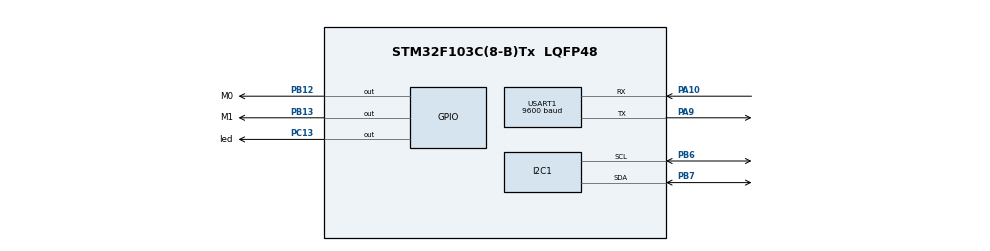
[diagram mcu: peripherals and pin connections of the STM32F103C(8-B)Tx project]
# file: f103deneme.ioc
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Mcu.Family=STM32F1
Mcu.Name=STM32F103C(8-B)Tx
Mcu.Package=LQFP48
NVIC.PriorityGroup=NVIC_PRIORITYGROUP_4
NVIC.USART1_IRQn=true\:0\:0\:false\:false\:true\:true\:true\:true
PA10.Mode=Asynchronous
PA10.Signal=USART1_RX
PA13.Mode=Serial_Wire
PA13.Signal=SYS_JTMS-SWDIO
PA14.Mode=Serial_Wire
PA14.Signal=SYS_JTCK-SWCLK
PA9.Mode=Asynchronous
PA9.Signal=USART1_TX
PB12.GPIO_Label=M0
PB12.Signal=GPIO_Output
PB13.GPIO_Label=M1
PB13.Signal=GPIO_Output
PB6.Mode=I2C
PB6.Signal=I2C1_SCL
PB7.Mode=I2C
PB7.Signal=I2C1_SDA
PC13-TAMPER-RTC.GPIO_Label=led
PC13-TAMPER-RTC.Signal=GPIO_Output
PD0-OSC_IN.Mode=HSE-External-Oscillator
PD0-OSC_IN.Signal=RCC_OSC_IN
PD1-OSC_OUT.Mode=HSE-External-Oscillator
PD1-OSC_OUT.Signal=RCC_OSC_OUT
ProjectManager.HeapSize=0x200
ProjectManager.StackSize=0x400
ProjectManager.TargetToolchain=STM32CubeIDE
RCC.APB1Freq_Value=8000000
RCC.APB2Freq_Value=8000000
USART1.BaudRate=9600
USART1.VirtualMode=VM_ASYNC
board=custom

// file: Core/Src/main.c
/* USER CODE BEGIN Header */
/**
  ******************************************************************************
  * @file           : main.c
  * @brief          : Main program body
  ******************************************************************************
  * @attention
  *
  * Copyright (c) 2025 STMicroelectronics.
  * All rights reserved.
  *
  * This software is licensed under terms that can be found in the LICENSE file
  * in the root directory of this software component.
  * If no LICENSE file comes with this software, it is provided AS-IS.
  *
  ******************************************************************************
  */
/* USER CODE END Header */
#include "main.h"

/* USER CODE BEGIN Includes */
#include "stdio.h"     // sprintf fomksiyou için

/* USER CODE END Includes */

I2C_HandleTypeDef hi2c1;

UART_HandleTypeDef huart1;

/* USER CODE BEGIN PV */

typedef struct{
	  float cur;
	  float temp;
	  float nem;
	  float volt;
  }DataPacket;

 uint8_t data[3] = {0x03,0x00,0x04};
 HAL_StatusTypeDef status;
 uint8_t buff[8];
 DataPacket packet;
 uint8_t startByte = 0xAA; // Başlangıç bayrağı
 uint8_t endByte = 0xBB;   // Bitiş bayrağı

/* USER CODE END PV */

void SystemClock_Config(void);
static void MX_GPIO_Init(void);
static void MX_USART1_UART_Init(void);
static void MX_I2C1_Init(void);
/* USER CODE BEGIN PFP */
void TransmitAddressAndChannel(uint8_t receiverAddressLow, uint8_t receiverAddressHigh, uint8_t channelInfo);
unsigned short crc16(unsigned char *ptr, unsigned char len);
void GetData_AM2315(void);

/* USER CODE END PFP */

int main(void)
{

  /* MCU Configuration--------------------------------------------------------*/

  /* Reset of all peripherals, Initializes the Flash interface and the Systick. */
  HAL_Init();

  /* Configure the system clock */
  SystemClock_Config();

  /* Initialize all configured peripherals */
  MX_GPIO_Init();
  MX_USART1_UART_Init();
  MX_I2C1_Init();
  /* USER CODE BEGIN 2 */
  HAL_GPIO_WritePin(M0_GPIO_Port, M0_Pin, GPIO_PIN_RESET);
  HAL_GPIO_WritePin(M1_GPIO_Port, M1_Pin, GPIO_PIN_RESET);

  packet.cur=5.20;
  packet.volt=12.35;

  /* USER CODE END 2 */

  /* Infinite loop */
  while (1)
  {

    /* USER CODE BEGIN 3 */
  	  HAL_I2C_IsDeviceReady(&hi2c1, 0xb8, 2, 1);
	  GetData_AM2315();
	  TransmitAddressAndChannel(0x00, 0xc, 0x17);
	  HAL_UART_Transmit(&huart1, &startByte, 1, HAL_MAX_DELAY); // Başlangıç bayrağı
	  HAL_UART_Transmit(&huart1, (uint8_t*)&packet, sizeof(packet), HAL_MAX_DELAY);
	  HAL_UART_Transmit(&huart1, &endByte, 1, HAL_MAX_DELAY);   // Bitiş bayrağı

	  HAL_GPIO_TogglePin(led_GPIO_Port, led_Pin);
	  HAL_Delay(2000);
  }
  /* USER CODE END 3 */
}

void SystemClock_Config(void)
{
  RCC_OscInitTypeDef RCC_OscInitStruct = {0};
  RCC_ClkInitTypeDef RCC_ClkInitStruct = {0};

  /** Initializes the RCC Oscillators according to the specified parameters
  * in the RCC_OscInitTypeDef structure.
  */
  RCC_OscInitStruct.OscillatorType = RCC_OSCILLATORTYPE_HSI;
  RCC_OscInitStruct.HSIState = RCC_HSI_ON;
  RCC_OscInitStruct.HSICalibrationValue = RCC_HSICALIBRATION_DEFAULT;
  RCC_OscInitStruct.PLL.PLLState = RCC_PLL_NONE;
  if (HAL_RCC_OscConfig(&RCC_OscInitStruct) != HAL_OK)
  {
    Error_Handler();
  }

  /** Initializes the CPU, AHB and APB buses clocks
  */
  RCC_ClkInitStruct.ClockType = RCC_CLOCKTYPE_HCLK|RCC_CLOCKTYPE_SYSCLK
                              |RCC_CLOCKTYPE_PCLK1|RCC_CLOCKTYPE_PCLK2;
  RCC_ClkInitStruct.SYSCLKSource = RCC_SYSCLKSOURCE_HSI;
  RCC_ClkInitStruct.AHBCLKDivider = RCC_SYSCLK_DIV1;
  RCC_ClkInitStruct.APB1CLKDivider = RCC_HCLK_DIV1;
  RCC_ClkInitStruct.APB2CLKDivider = RCC_HCLK_DIV1;

  if (HAL_RCC_ClockConfig(&RCC_ClkInitStruct, FLASH_LATENCY_0) != HAL_OK)
  {
    Error_Handler();
  }
}

static void MX_I2C1_Init(void)
{

  hi2c1.Instance = I2C1;
  hi2c1.Init.ClockSpeed = 100000;
  hi2c1.Init.DutyCycle = I2C_DUTYCYCLE_2;
  hi2c1.Init.OwnAddress1 = 0;
  hi2c1.Init.AddressingMode = I2C_ADDRESSINGMODE_7BIT;
  hi2c1.Init.DualAddressMode = I2C_DUALADDRESS_DISABLE;
  hi2c1.Init.OwnAddress2 = 0;
  hi2c1.Init.GeneralCallMode = I2C_GENERALCALL_DISABLE;
  hi2c1.Init.NoStretchMode = I2C_NOSTRETCH_DISABLE;
  if (HAL_I2C_Init(&hi2c1) != HAL_OK)
  {
    Error_Handler();
  }

}

static void MX_USART1_UART_Init(void)
{

  huart1.Instance = USART1;
  huart1.Init.BaudRate = 9600;
  huart1.Init.WordLength = UART_WORDLENGTH_8B;
  huart1.Init.StopBits = UART_STOPBITS_1;
  huart1.Init.Parity = UART_PARITY_NONE;
  huart1.Init.Mode = UART_MODE_TX_RX;
  huart1.Init.HwFlowCtl = UART_HWCONTROL_NONE;
  huart1.Init.OverSampling = UART_OVERSAMPLING_16;
  if (HAL_UART_Init(&huart1) != HAL_OK)
  {
    Error_Handler();
  }

}

static void MX_GPIO_Init(void)
{
  GPIO_InitTypeDef GPIO_InitStruct = {0};

  /* GPIO Ports Clock Enable */
  __HAL_RCC_GPIOC_CLK_ENABLE();
  __HAL_RCC_GPIOD_CLK_ENABLE();
  __HAL_RCC_GPIOB_CLK_ENABLE();
  __HAL_RCC_GPIOA_CLK_ENABLE();

  /*Configure GPIO pin Output Level */
  HAL_GPIO_WritePin(led_GPIO_Port, led_Pin, GPIO_PIN_RESET);

  /*Configure GPIO pin Output Level */
  HAL_GPIO_WritePin(GPIOB, M0_Pin|M1_Pin, GPIO_PIN_RESET);

  /*Configure GPIO pin : led_Pin */
  GPIO_InitStruct.Pin = led_Pin;
  GPIO_InitStruct.Mode = GPIO_MODE_OUTPUT_PP;
  GPIO_InitStruct.Pull = GPIO_NOPULL;
  GPIO_InitStruct.Speed = GPIO_SPEED_FREQ_LOW;
  HAL_GPIO_Init(led_GPIO_Port, &GPIO_InitStruct);

  /*Configure GPIO pins : M0_Pin M1_Pin */
  GPIO_InitStruct.Pin = M0_Pin|M1_Pin;
  GPIO_InitStruct.Mode = GPIO_MODE_OUTPUT_PP;
  GPIO_InitStruct.Pull = GPIO_NOPULL;
  GPIO_InitStruct.Speed = GPIO_SPEED_FREQ_LOW;
  HAL_GPIO_Init(GPIOB, &GPIO_InitStruct);

}

/* USER CODE BEGIN 4 */
void TransmitAddressAndChannel(uint8_t receiverAddressLow, uint8_t receiverAddressHigh, uint8_t channelInfo)
{
    HAL_UART_Transmit(&huart1, &receiverAddressLow, 1, HAL_MAX_DELAY);
    HAL_UART_Transmit(&huart1, &receiverAddressHigh, 1, HAL_MAX_DELAY);
    HAL_UART_Transmit(&huart1, &channelInfo, 1, HAL_MAX_DELAY);
}

unsigned short crc16(unsigned char *ptr, unsigned char len)
{
   unsigned short crc=0xFFFF;
   unsigned char i;
   while(len--)
   {
      crc ^=*ptr++;
      for(i=0;i<8;i++)
      {
        if(crc & 0x01)
        {
           crc>>=1;
           crc^=0xA001;
        }else
        {
          crc>>=1;
        }
      }
  }
  return crc;
}

void GetData_AM2315(void)
{

	HAL_I2C_Master_Transmit(&hi2c1, 0xb8, data, 3, 100);
	HAL_I2C_Master_Receive(&hi2c1, 0xb9, buff, 8, 100);

	unsigned int Rcrc = buff[7] << 8;
	Rcrc += buff[6];

	if(Rcrc == crc16(buff, 6))
	{
		 unsigned int temp = ((buff[4] & 0x7F)<<8) + buff[5];
		 packet.temp = temp/10.0;
		 packet.temp= (((buff[4] & 0x80)>>7) ==1) ?  ((packet.temp)*(-1)) : packet.temp;

		 unsigned int humdty = (buff[2] << 8) + buff[3];
		 packet.nem = humdty/10.0;

	}
	else{
		//eğer iletişim başarılı değilse 0 atasın
		packet.temp=0;
		packet.nem=0;
	}
}
/* USER CODE END 4 */

void Error_Handler(void)
{
  __disable_irq();
  while (1)
  {
  }
}
